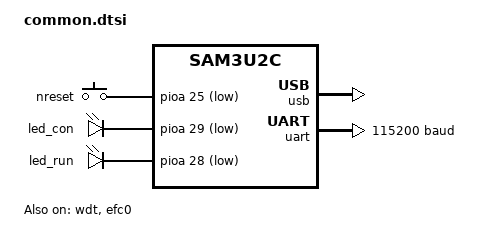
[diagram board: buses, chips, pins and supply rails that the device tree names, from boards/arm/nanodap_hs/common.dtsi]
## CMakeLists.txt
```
# Copyright (c) 2023 XiNGRZ
# SPDX-License-Identifier: Apache-2.0

cmake_minimum_required(VERSION 3.20.0)

set(ZephyrBuildConfiguration_ROOT ${CMAKE_SOURCE_DIR}/cmake)
list(APPEND ZEPHYR_EXTRA_MODULES ${CMAKE_SOURCE_DIR}/drivers)

find_package(Zephyr REQUIRED HINTS ../zephyr)
project(zprobe)

target_sources_ifdef(CONFIG_ZPROBE_BOOTLOADER app PRIVATE src/main_bl.c)
target_sources_ifdef(CONFIG_ZPROBE_INTERFACE app PRIVATE src/main_if.c)

target_sources(app PRIVATE src/usb_status.c)

target_sources_ifdef(CONFIG_ZPROBE_CDC_ACM app PRIVATE src/usb_cdc_acm.c)
target_sources_ifdef(CONFIG_ZPROBE_CMSIS_DAP_V2 app PRIVATE src/usb_cmsis_dap_v2.c)

target_sources_ifdef(CONFIG_CMSIS_DAP app PRIVATE src/cmsis_dap.c)
target_link_libraries_ifdef(CONFIG_CMSIS_DAP app PRIVATE cmsis_dap)
add_subdirectory_ifdef(CONFIG_CMSIS_DAP cmsis_dap)
```

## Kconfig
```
# Copyright (c) 2023 XiNGRZ
# SPDX-License-Identifier: Apache-2.0

mainmenu "Zprobe"

menu "Zprobe"

choice ZPROBE_APP
	prompt "App"

config ZPROBE_BOOTLOADER
	bool "Bootloader"
	select FLASH_MAP
	select FLASH

config ZPROBE_INTERFACE
	bool "Interface"

endchoice # ZPROBE_APP

rsource "Kconfig.logging"
rsource "Kconfig.usb"

if ZPROBE_INTERFACE
rsource "cmsis_dap/Kconfig"
endif # ZPROBE_INTERFACE

module = ZPROBE
module-str = zprobe
source "subsys/logging/Kconfig.template.log_config"

endmenu

source "Kconfig.zephyr"
```

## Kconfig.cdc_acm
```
# Copyright (c) 2023 XiNGRZ
# SPDX-License-Identifier: Apache-2.0

menu "USB CDC-ACM"

DT_COMPAT_ZPROBE_USB_CDC_ACM := zprobe,usb-cdc-acm

config ZPROBE_CDC_ACM
	bool "Bridge between UART and USB CDC-ACM"
	default $(dt_compat_enabled,$(DT_COMPAT_ZPROBE_USB_CDC_ACM))
	depends on USB_DEVICE_STACK
	depends on DT_HAS_ZEPHYR_CDC_ACM_UART_ENABLED
	select SERIAL
	select USB_CDC_ACM
	select UART_LINE_CTRL
	select CDC_ACM_DTE_RATE_CALLBACK_SUPPORT

if ZPROBE_CDC_ACM

config ZPROBE_CDC_ACM_RING_BUF_SIZE
	int
	default 128

endif # ZPROBE_CDC_ACM

endmenu
```

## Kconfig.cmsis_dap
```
# Copyright (c) 2023 XiNGRZ
# SPDX-License-Identifier: Apache-2.0

menu "USB CMSIS-DAP"

config ZPROBE_CMSIS_DAP_V2
	bool "USB interface for CMSIS-DAP v2"
	depends on USB_DEVICE_STACK
	default y if HAS_SWDIO
	select CMSIS_DAP

module = ZPROBE_CMSIS_DAP
module-str = zprobe_cmsis_dap
source "subsys/logging/Kconfig.template.log_config"

endmenu
```

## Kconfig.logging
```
# Copyright (c) 2023 XiNGRZ
# SPDX-License-Identifier: Apache-2.0

menu "Logging"

config ZPROBE_UART_LOGGING
	bool "Logging via UART"
	select LOG
	select SERIAL
	select CONSOLE
	select UART_CONSOLE

if ZPROBE_UART_LOGGING

config ZPROBE_LOG_LEVEL
	default 4

endif # ZPROBE_UART_LOGGING

endmenu
```

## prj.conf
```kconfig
# Copyright (c) 2023 XiNGRZ
# SPDX-License-Identifier: Apache-2.0

# Buses
CONFIG_GPIO=y

# Firmware
CONFIG_KERNEL_BIN_NAME="zprobe"
```

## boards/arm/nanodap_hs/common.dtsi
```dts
/*
 * Copyright (c) 2023 XiNGRZ
 * SPDX-License-Identifier: Apache-2.0
 */

#include <mem.h>
#include <freq.h>

#include <atmel/sam3u2c.dtsi>
#include <dt-bindings/pinctrl/sam3uXc-pinctrl.h>
#include <zephyr/dt-bindings/gpio/gpio.h>

/ {
	chosen {
		zephyr,sram = &sram0;
		zephyr,flash = &flash0;
		zephyr,console = &uart;
	};

	aliases {
		nreset = &nreset;
		led-con = &led_con;
		led-run = &led_run;
	};

	keys {
		compatible = "gpio-keys";

		nreset: nreset {
			gpios = <&pioa 25 (GPIO_ACTIVE_LOW | GPIO_PULL_UP)>;
		};
	};

	leds {
		compatible = "gpio-leds";

		led_con: led_con {
			gpios = <&pioa 29 GPIO_ACTIVE_LOW>;
		};

		led_run: led_run {
			gpios = <&pioa 28 GPIO_ACTIVE_LOW>;
		};
	};
};

&cpu0 {
	clock-frequency = <DT_FREQ_M(96)>;
};

&wdt {
	status = "okay";
};

&pinctrl {
	uart_default: uart_default {
		group1 {
			pinmux = <PA11A_UART_URXD>;
			bias-pull-up;
		};
		group2 {
			pinmux = <PA12A_UART_UTXD>;
		};
	};
};

&pioa {
	status = "okay";
};

&piob {
	status = "okay";
};

&usb {
	status = "okay";
};

&uart {
	pinctrl-0 = <&uart_default>;
	pinctrl-names = "default";
	status = "okay";
	current-speed = <115200>;
};

&efc0 {
	status = "okay";
};

&flash0 {
	partitions {
		compatible = "fixed-partitions";
		#address-cells = <1>;
		#size-cells = <1>;

		bootloader_partition: partition@0 {
			label = "bootloader";
			reg = <0x00000000 DT_SIZE_K(32)>;
		};

		code_partition: partition@8000 {
			label = "code_partition";
			reg = <0x00008000 DT_SIZE_K(96)>;
		};
	};
};
```

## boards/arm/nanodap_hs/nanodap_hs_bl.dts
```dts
/*
 * Copyright (c) 2023 XiNGRZ
 * SPDX-License-Identifier: Apache-2.0
 */

/dts-v1/;
#include "common.dtsi"

/ {
	model = "MuseLab nanoDAP-HS bootloader";
	compatible = "muselab,nanodap_hs_bl", "atmel,sam3u2c", "atmel,sam3u";

	chosen {
		zephyr,code-partition = &bootloader_partition;
		zprobe,boot-partition = &code_partition;
	};
};
```

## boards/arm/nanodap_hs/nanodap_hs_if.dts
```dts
/*
 * Copyright (c) 2023 XiNGRZ
 * SPDX-License-Identifier: Apache-2.0
 */

/dts-v1/;
#include "common.dtsi"

/ {
	model = "MuseLab nanoDAP-HS interface";
	compatible = "muselab,nanodap_hs_if", "atmel,sam3u2c", "atmel,sam3u";

	chosen {
		zephyr,code-partition = &code_partition;
	};
};
```

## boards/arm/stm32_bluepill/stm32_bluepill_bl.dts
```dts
/*
 * Copyright (c) 2023 XiNGRZ
 * SPDX-License-Identifier: Apache-2.0
 */

/dts-v1/;
#include "stm32_bluepill.dtsi"

/ {
	model = "STM32 BluePill Bootloader";
	compatible = "zprobe,stm32_bluepill_bl", "st,stm32f103";

	chosen {
		zephyr,code-partition = &bootloader_partition;
		zprobe,boot-partition = &code_partition;
	};
};
```

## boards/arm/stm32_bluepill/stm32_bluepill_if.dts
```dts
/*
 * Copyright (c) 2023 XiNGRZ
 * SPDX-License-Identifier: Apache-2.0
 */

/dts-v1/;
#include <dt-bindings/zprobe/hic.h>
#include <dt-bindings/zprobe/target.h>
#include "stm32_bluepill.dtsi"

/ {
	model = "STM32 BluePill Interface";
	compatible = "zprobe,stm32_bluepill_if", "st,stm32f103";

	chosen {
		zephyr,code-partition = &code_partition;
		zprobe,swdio = &swdio;
		zprobe,board = &board;
	};

	board: board {
		compatible = "zprobe,board";
		board-id = "0000";
		board-vendor = "Zprobe";
		board-name = "STM32F103";
		hic-id = <HIC_ID_STM32F103XB>;
		family-id = <FAMILY_ID_STUB_HWRESET>;
	};
};

&usb {
	cdc0: cdc_acm_uart-0 {
		compatible = "zephyr,cdc-acm-uart";
	};
};

&usart2 {
	status = "okay";
};

/ {
	usb_cdc_acm-0 {
		compatible = "zprobe,usb-cdc-acm";
		peer-0 = <&cdc0>;
		peer-1 = <&usart2>;
	};
};

/ {
	swdio: swdio {
		compatible = "zprobe,swdio-bitbang";
		swclk-tck-gpios = <&gpiob 13 GPIO_PULL_UP>;
		swdio-out-gpios = <&gpiob 14 GPIO_PULL_UP>;
		swdio-in-gpios = <&gpiob 14 GPIO_PULL_UP>;
	};
};
```

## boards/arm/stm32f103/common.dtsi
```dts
/*
 * Copyright (c) 2023 XiNGRZ
 * SPDX-License-Identifier: Apache-2.0
 */

#include <st/f1/stm32f103Xb.dtsi>
#include <st/f1/stm32f103c(8-b)tx-pinctrl.dtsi>

/ {
	chosen {
		zephyr,sram = &sram0;
		zephyr,flash = &flash0;
		zephyr,console = &usart3;
		zephyr,usb-device = &usb;
	};

	aliases {
		nreset = &nreset;
		led-run = &led_run;
	};

	keys {
		compatible = "gpio-keys";

		nreset: nreset {
			gpios = <&gpiob 0 (GPIO_ACTIVE_LOW | GPIO_PULL_UP)>;
		};
	};

	leds {
		compatible = "gpio-leds";

		led_run: led_run {
			gpios = <&gpioc 13 GPIO_ACTIVE_LOW>;
		};
	};
};

&clk_hse {
	clock-frequency = <DT_FREQ_M(8)>;
	status = "okay";
};

&pll {
	mul = <9>;
	clocks = <&clk_hse>;
	status = "okay";
};

&rcc {
	clocks = <&pll>;
	clock-frequency = <DT_FREQ_M(72)>;
	ahb-prescaler = <1>;
	apb1-prescaler = <2>;
	apb2-prescaler = <1>;
};

&usb {
	pinctrl-0 = <&usb_dm_pa11 &usb_dp_pa12>;
	pinctrl-names = "default";
	status = "okay";

	vbus-gpios = <&gpioa 12 GPIO_ACTIVE_LOW>;
};

&usart1 {
	pinctrl-0 = <&usart1_tx_pa9 &usart1_rx_pa10>;
	pinctrl-names = "default";
	current-speed = <115200>;
};

&usart2 {
	pinctrl-0 = <&usart2_tx_pa2 &usart2_rx_pa3>;
	pinctrl-names = "default";
	current-speed = <115200>;
};

&usart3 {
	pinctrl-0 = <&usart3_tx_pb10 &usart3_rx_pb11>;
	pinctrl-names = "default";
	status = "okay";
	current-speed = <115200>;
};

&flash0 {
	partitions {
		compatible = "fixed-partitions";
		#address-cells = <1>;
		#size-cells = <1>;

		bootloader_partition: partition@0 {
			label = "bootloader";
			reg = <0x00000000 DT_SIZE_K(48)>;
		};

		code_partition: partition@C000 {
			label = "code_partition";
			reg = <0x0000C000 DT_SIZE_K(80)>;
		};
	};
};
```

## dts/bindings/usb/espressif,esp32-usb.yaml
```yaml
# Copyright (c) 2023 XiNGRZ
# SPDX-License-Identifier: Apache-2.0

description: ESP32 USB controller

compatible: "espressif,esp32-usb"

include: [usb-ep.yaml, pinctrl-device.yaml]

properties:
  reg:
    required: true

  interrupts:
    required: true
```

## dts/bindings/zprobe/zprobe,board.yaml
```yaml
# Copyright (c) 2023 XiNGRZ
# SPDX-License-Identifier: Apache-2.0

description: Zprobe board configuration

compatible: "zprobe,board"

properties:
  board-id:
    type: string
    required: true

  board-vendor:
    type: string
    required: true

  board-name:
    type: string
    required: true

  hic-id:
    type: int
    required: true

  family-id:
    type: int
    required: true

  target:
    type: phandle
```

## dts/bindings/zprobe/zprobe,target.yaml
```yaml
# Copyright (c) 2023 XiNGRZ
# SPDX-License-Identifier: Apache-2.0

description: Zprobe target configuration

compatible: "zprobe,target"

properties:
  target-vendor:
    type: string
    required: true

  target-name:
    type: string
    required: true
```

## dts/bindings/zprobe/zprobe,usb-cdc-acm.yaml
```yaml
# Copyright (c) 2023 XiNGRZ
# SPDX-License-Identifier: Apache-2.0

description: Bridge between UART and USB CDC-ACM

compatible: "zprobe,usb-cdc-acm"

properties:
  peer-0:
    type: phandle
    required: true

  peer-1:
    type: phandle
    required: true
```

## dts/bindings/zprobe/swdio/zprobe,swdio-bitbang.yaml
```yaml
# Copyright (c) 2023 XiNGRZ
# SPDX-License-Identifier: Apache-2.0

description: A bit-bang driver to generate SWD sequence

compatible: "zprobe,swdio-bitbang"

properties:
  swclk-tck-gpios:
    type: phandle-array
    required: true
  swdio-out-gpios:
    type: phandle-array
    required: true
  swdio-in-gpios:
    type: phandle-array
    required: true
```

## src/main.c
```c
/*
 * Copyright (c) 2023 XiNGRZ
 *
 * SPDX-License-Identifier: Apache-2.0
 */

#include <zephyr/kernel.h>

#include <zephyr/logging/log.h>
LOG_MODULE_REGISTER(zprobe, CONFIG_ZPROBE_LOG_LEVEL);

void main(void)
{
	LOG_INF("Hello world!");
}
```

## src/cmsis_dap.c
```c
/*
 * Copyright (c) 2023 XiNGRZ
 *
 * SPDX-License-Identifier: Apache-2.0
 */

#include <stdio.h>

#include <zephyr/device.h>
#include <zephyr/drivers/gpio.h>
#include <zprobe/drivers/swdio.h>
#include <zephyr/drivers/hwinfo.h>

#include <zephyr/usb/usb_device.h>
#include <usb_descriptor.h>

#include <zephyr/logging/log.h>
LOG_MODULE_DECLARE(zprobe, CONFIG_ZPROBE_LOG_LEVEL);

#include "DAP_config.h"
#include "DAP.h"

#define SWDIO_NODE DT_CHOSEN(zprobe_swdio)

#define LED_CON_NODE DT_ALIAS(led_con)
#define LED_CON_OKAY DT_NODE_HAS_STATUS(LED_CON_NODE, okay)

#define LED_RUN_NODE DT_ALIAS(led_run)
#define LED_RUN_OKAY DT_NODE_HAS_STATUS(LED_RUN_NODE, okay)

#define BOARD_NODE DT_CHOSEN(zprobe_board)
#define BOARD_OKAY DT_NODE_HAS_STATUS(BOARD_NODE, okay)

#if BOARD_OKAY
#define TARGET_NODE DT_PHANDLE(BOARD_NODE, target)
#define TARGET_OKAY DT_NODE_HAS_STATUS(TARGET_NODE, okay)
#else
#define TARGET_OKAY 0
#endif

static const struct device *swdio_dev;

#if LED_CON_OKAY
static const struct gpio_dt_spec led_con = GPIO_DT_SPEC_GET(LED_CON_NODE, gpios);
#endif

#if LED_RUN_OKAY
static const struct gpio_dt_spec led_run = GPIO_DT_SPEC_GET(LED_RUN_NODE, gpios);
#endif

void PIN_SWDIO_OUT_ENABLE(void)
{
	swdio_set_write_mode(swdio_dev);
}

void PIN_SWDIO_OUT_DISABLE(void)
{
	swdio_set_read_mode(swdio_dev);
}

uint32_t PIN_nRESET_IN(void)
{
	return 1;
}

void PIN_nRESET_OUT(uint32_t bit)
{
	LOG_DBG("reset: %d", bit);
}

void LED_CONNECTED_OUT(uint32_t bit)
{
#if LED_CON_OKAY
	gpio_pin_set_dt(&led_con, bit);
#else
	ARG_UNUSED(bit);
#endif
}

void LED_RUNNING_OUT(uint32_t bit)
{
#if LED_RUN_OKAY
	gpio_pin_set_dt(&led_run, bit);
#else
	ARG_UNUSED(bit);
#endif
}

uint8_t DAP_GetTargetDeviceVendorString(char *str)
{
#if TARGET_OKAY
	const char *val = DT_PROP(TARGET_NODE, target_vendor);
	strcpy(str, val);
	return strlen(val) + 1;
#else
	ARG_UNUSED(str);
	return 0;
#endif
}

uint8_t DAP_GetTargetDeviceNameString(char *str)
{
#if TARGET_OKAY
	const char *val = DT_PROP(TARGET_NODE, target_name);
	strcpy(str, val);
	return strlen(val) + 1;
#else
	ARG_UNUSED(str);
	return 0;
#endif
}

uint8_t DAP_GetTargetBoardVendorString(char *str)
{
#if BOARD_OKAY
	const char *val = DT_PROP(BOARD_NODE, board_vendor);
	strcpy(str, val);
	return strlen(val) + 1;
#else
	ARG_UNUSED(str);
	return 0;
#endif
}

uint8_t DAP_GetTargetBoardNameString(char *str)
{
#if BOARD_OKAY
	const char *val = DT_PROP(BOARD_NODE, board_name);
	strcpy(str, val);
	return strlen(val) + 1;
#else
	ARG_UNUSED(str);
	return 0;
#endif
}

uint8_t *usb_update_sn_string_descriptor(void)
{
	static uint8_t sn[] = CONFIG_USB_DEVICE_SN;

#if BOARD_OKAY
	memcpy(sn + 0, DT_PROP(BOARD_NODE, board_id), 4);
#endif

#if BOARD_OKAY
	char family_id_str[5];
	sprintf(family_id_str, "%04x", DT_PROP(BOARD_NODE, family_id));
	memcpy(sn + 4, family_id_str, 4);
#endif

#ifdef CONFIG_HWINFO
	char host_id_str[33];
	uint8_t host_id[16];
	ssize_t host_id_len = hwinfo_get_device_id(host_id, sizeof(host_id));
	for (int i = 0; i < sizeof(host_id); i++) {
		sprintf(host_id_str + i * 2, "%02x", i < host_id_len ? host_id[i] : 0xa5);
	}
	memcpy(sn + 8, host_id_str, 32);
#endif

#if BOARD_OKAY
	char hid_id_str[9];
	sprintf(hid_id_str, "%08llx", DT_PROP(BOARD_NODE, hic_id));
	memcpy(sn + 40, hid_id_str, 8);
#endif

	return sn;
}

void SWJ_Sequence(uint32_t count, const uint8_t *data)
{
	// LOG_DBG("size: %d", count);
	// LOG_HEXDUMP_DBG(data, (count + 7) / 8, "data:");
	swdio_set_clock_freq(swdio_dev, DAP_Data.clock_freq);
	LED_RUNNING_OUT(1);
	swdio_write_bits(swdio_dev, data, count);
	LED_RUNNING_OUT(0);
}

void SWD_Sequence(uint32_t info, const uint8_t *swdo, uint8_t *swdi)
{
	// LOG_DBG("info: %02x", info);

	swdio_set_clock_freq(swdio_dev, DAP_Data.clock_freq);

	LED_RUNNING_OUT(1);

	uint32_t n = info & SWD_SEQUENCE_CLK;
	if (n == 0U) {
		n = 64U;
	}

	if (info & SWD_SEQUENCE_DIN) {
		swdio_read_bits(swdio_dev, swdi, n);
	} else {
		swdio_write_bits(swdio_dev, swdo, n);
	}

	LED_RUNNING_OUT(0);
}

static inline uint8_t calc_parity(uint32_t val)
{
	uint32_t parity = 0;
	for (int i = 0; i < 32; i++) {
		parity = (parity + (val >> i)) & 0x1;
	}
	return parity;
}

uint8_t SWD_Transfer(uint32_t request, uint32_t *data)
{
	// LOG_DBG("request: %02x", request);

	uint32_t req;
	uint32_t ack;
	uint32_t val;
	uint32_t parity;

	swdio_set_clock_freq(swdio_dev, DAP_Data.clock_freq);

	LED_RUNNING_OUT(1);

	/* Packet Request */
	req = request & BIT_MASK(4);
	// LOG_DBG("req: %02x", req);
	parity = calc_parity(req);
	val = BIT(7) | (parity << 5) | (req << 1) | BIT(0);
	swdio_write_uint32(swdio_dev, val, 8);

	/* Turnaround */
	swdio_set_read_mode(swdio_dev);
	swdio_turn_around(swdio_dev, DAP_Data.swd_conf.turnaround);

	/* Acknowledge response */
	ack = swdio_read_uint32(swdio_dev, 3);
	// LOG_DBG("ack: %02x", ack);

	if (ack == DAP_TRANSFER_OK) {
		/* Data transfer */
		if (request & DAP_TRANSFER_RnW) {
			uint8_t bit;
			val = swdio_read_uint32(swdio_dev, 32);
			parity = calc_parity(val);
			bit = swdio_read_uint32(swdio_dev, 1);
			if ((parity ^ bit) & 0x1) {
				ack = DAP_TRANSFER_ERROR;
				LOG_DBG("Read error");
			}
			if (data) {
				*data = val;
			}

			// LOG_DBG("read: %08x", val);
			swdio_turn_around(swdio_dev, DAP_Data.swd_conf.turnaround);
			swdio_set_write_mode(swdio_dev);
		} else {
			swdio_turn_around(swdio_dev, DAP_Data.swd_conf.turnaround);
			swdio_set_write_mode(swdio_dev);

			val = *data;
			swdio_write_uint32(swdio_dev, val, 32);
			parity = calc_parity(val);
			swdio_write_uint32(swdio_dev, parity, 1);
			// LOG_DBG("wrote: %08x", val);
		}

		/* Capture Timestamp */
		if (request & DAP_TRANSFER_TIMESTAMP) {
			DAP_Data.timestamp = TIMESTAMP_GET();
		}

		/* Idle cycles */
		swdio_write_dummy(swdio_dev, DAP_Data.transfer.idle_cycles);
	} else if (ack == DAP_TRANSFER_WAIT || ack == DAP_TRANSFER_FAULT) {
		LOG_DBG("WAIT or FAULT response");
		if (DAP_Data.swd_conf.data_phase && (request & DAP_TRANSFER_RnW) != 0) {
			swdio_read_dummy(swdio_dev, 32 + 1);
		}

		/* Turnaround */
		swdio_turn_around(swdio_dev, DAP_Data.swd_conf.turnaround);
		swdio_set_write_mode(swdio_dev);

		if (DAP_Data.swd_conf.data_phase && (request & DAP_TRANSFER_RnW) != 0) {
			swdio_write_dummy(swdio_dev, 32 + 1);
		}
	} else {
		LOG_DBG("Protocol error: %02x", ack);
		swdio_turn_around(swdio_dev, DAP_Data.swd_conf.turnaround + 32U + 1U);
		swdio_set_write_mode(swdio_dev);
	}

	LED_RUNNING_OUT(0);

	return (uint8_t)ack;
}

static int cmsis_dap_init(const struct device *dev)
{
	ARG_UNUSED(dev);
	int ret = 0;

	swdio_dev = DEVICE_DT_GET(SWDIO_NODE);
	if (!swdio_dev) {
		LOG_ERR("SWDIO device not found");
		return -ENODEV;
	}

#if LED_CON_OKAY
	ret = gpio_pin_configure_dt(&led_con, GPIO_OUTPUT_INACTIVE);
	if (ret != 0) {
		LOG_ERR("LED_CON not configured: %d", ret);
		return ret;
	}
#endif

#if LED_RUN_OKAY
	ret = gpio_pin_configure_dt(&led_run, GPIO_OUTPUT_INACTIVE);
	if (ret != 0) {
		LOG_ERR("LED_RUN not configured: %d", ret);
		return ret;
	}
#endif

	DAP_Setup();

	return ret;
}

SYS_INIT(cmsis_dap_init, APPLICATION, CONFIG_APPLICATION_INIT_PRIORITY);
```

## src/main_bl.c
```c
/*
 * Copyright (c) 2023 XiNGRZ
 *
 * SPDX-License-Identifier: Apache-2.0
 */

#include <zephyr/kernel.h>
#include <zephyr/device.h>

#include <zephyr/drivers/timer/system_timer.h>
#include <zephyr/linker/linker-defs.h>
#include <zephyr/arch/arm/aarch32/cortex_m/cmsis.h>

#include <zephyr/drivers/gpio.h>

#include <zephyr/logging/log.h>
LOG_MODULE_REGISTER(zprobe, CONFIG_ZPROBE_LOG_LEVEL);

#define FLASH_ADDR DT_REG_ADDR(DT_CHOSEN(zephyr_flash))
#define SRAM_ADDR  DT_REG_ADDR(DT_CHOSEN(zephyr_sram))
#define BOOT_ADDR  DT_REG_ADDR(DT_CHOSEN(zprobe_boot_partition))

#define APP_ADDR (FLASH_ADDR + BOOT_ADDR)

#define NRESET_NODE DT_ALIAS(nreset)
#define NRESET_OKAY DT_NODE_HAS_STATUS(NRESET_NODE, okay)

#if NRESET_OKAY
static struct gpio_dt_spec nreset = GPIO_DT_SPEC_GET(NRESET_NODE, gpios);
#endif

#define LED_RUN_NODE DT_ALIAS(led_run)
#define LED_RUN_OKAY DT_NODE_HAS_STATUS(LED_RUN_NODE, okay)

#if LED_RUN_OKAY
static struct gpio_dt_spec led_run = GPIO_DT_SPEC_GET(LED_RUN_NODE, gpios);
#endif

struct arm_vector_table {
	uint32_t msp;
	uint32_t reset;
};

static const struct arm_vector_table *vt = (struct arm_vector_table *)APP_ADDR;

static inline bool check_app(void)
{
	if ((vt->msp & 0x2FFE0000) != SRAM_ADDR) {
		LOG_ERR("Incorrect header");
		return false;
	}

	return true;
}

static inline void jump_to_app(void)
{
#if IS_ENABLED(CONFIG_SYSTEM_TIMER_HAS_DISABLE_SUPPORT)
	sys_clock_disable();
#endif

	irq_lock();

	SCB->VTOR = (uint32_t)vt;
	__set_MSP(vt->msp);

	((void (*)(void))vt->reset)();
}

void main(void)
{
	LOG_DBG("Hello world!");

	bool update_mode = false;

#if NRESET_OKAY
	if (!gpio_is_ready_dt(&nreset)) {
		LOG_ERR("NRESET is not ready");
		return;
	}

	gpio_pin_configure_dt(&nreset, GPIO_INPUT);
#endif

#if LED_RUN_OKAY
	if (!gpio_is_ready_dt(&led_run)) {
		LOG_ERR("LED_RUN is not ready");
		return;
	}

	gpio_pin_configure_dt(&led_run, GPIO_OUTPUT_INACTIVE);
#endif

#if NRESET_OKAY
	update_mode = gpio_pin_get_dt(&nreset);
	LOG_DBG("nreset: %d", update_mode);
#endif

	if (!update_mode && !check_app()) {
		update_mode = true;
	}

	if (!update_mode) {
		jump_to_app();
		while (1) {
		}
	}

	LOG_DBG("Bootloader mode");

	// TODO: Set up MSC

	while (1) {
#if LED_RUN_OKAY
		gpio_pin_toggle_dt(&led_run);
		k_msleep(500);
#endif
	}
}
```

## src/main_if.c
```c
/*
 * Copyright (c) 2023 XiNGRZ
 *
 * SPDX-License-Identifier: Apache-2.0
 */

#include <zephyr/kernel.h>

#include <zephyr/usb/usb_device.h>

#include <zephyr/logging/log.h>
LOG_MODULE_REGISTER(zprobe, CONFIG_ZPROBE_LOG_LEVEL);

#include "usb_status.h"

#include <zephyr/device.h>
#include <zephyr/drivers/gpio.h>

#define LED_RUN_NODE DT_ALIAS(led_run)
#define LED_CON_NODE DT_ALIAS(led_con)

static struct gpio_dt_spec led_run = GPIO_DT_SPEC_GET(LED_RUN_NODE, gpios);
static struct gpio_dt_spec led_con = GPIO_DT_SPEC_GET(LED_CON_NODE, gpios);

void main(void)
{
	int ret;
	ARG_UNUSED(ret);

#if IS_ENABLED(CONFIG_USB_DEVICE_STACK)
	ret = usb_enable(usb_status_changed);
	if (ret != 0) {
		LOG_ERR("Failed to enable USB: %d", ret);
		return;
	}
#endif // CONFIG_USB_DEVICE_STACK

	LOG_INF("Hello world!");

	gpio_pin_configure_dt(&led_run, GPIO_OUTPUT_INACTIVE);
	gpio_pin_configure_dt(&led_con, GPIO_OUTPUT_ACTIVE);

	while (1) {
		gpio_pin_toggle_dt(&led_run);
		gpio_pin_toggle_dt(&led_con);
		k_msleep(1000);
	}
}
```

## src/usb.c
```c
/*
 * Copyright (c) 2023 XiNGRZ
 *
 * SPDX-License-Identifier: Apache-2.0
 */

#include <zephyr/kernel.h>
#include <zephyr/device.h>

#include <zephyr/usb/usb_device.h>

#include <zephyr/logging/log.h>
LOG_MODULE_DECLARE(zprobe, CONFIG_ZPROBE_LOG_LEVEL);

static int zprobe_usb_init(const struct device *dev)
{
	ARG_UNUSED(dev);
	int ret;

	ret = usb_enable(NULL);
	if (ret != 0) {
		LOG_ERR("Failed to enable USB: %d", ret);
		return ret;
	}

	return 0;
}

SYS_INIT(zprobe_usb_init, APPLICATION, CONFIG_APPLICATION_INIT_PRIORITY);
```

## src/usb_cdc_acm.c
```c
/*
 * Copyright (c) 2023 XiNGRZ
 *
 * SPDX-License-Identifier: Apache-2.0
 */

#define DT_DRV_COMPAT zprobe_usb_cdc_acm

#include <zephyr/kernel.h>
#include <zephyr/device.h>
#include <zephyr/sys/ring_buffer.h>

#include <zephyr/drivers/uart.h>
#include <zephyr/drivers/uart/cdc_acm.h>

#include <zephyr/logging/log.h>
LOG_MODULE_DECLARE(zprobe, CONFIG_ZPROBE_LOG_LEVEL);

enum {
	PEER_0,
	PEER_1,
	PEER_CNT,
};

struct cdc_acm_peer {
	const struct device *dev;
	struct cdc_acm_peer *target;
	struct ring_buf rb;
	uint8_t buffer[CONFIG_ZPROBE_CDC_ACM_RING_BUF_SIZE];
};

struct cdc_acm_data {
	struct cdc_acm_peer peers[PEER_CNT];
};

struct cdc_acm_config {
	const struct device *devices[PEER_CNT];
};

#define LIST_PEERS(n)                                                                              \
	DEVICE_DT_GET(DT_INST_PHANDLE(n, peer_0)), DEVICE_DT_GET(DT_INST_PHANDLE(n, peer_1)),

static const struct device *cdc_acm_peer_devs[] = {DT_INST_FOREACH_STATUS_OKAY(LIST_PEERS)};

static void cdc_acm_irq_handler(const struct device *dev, void *user_data)
{
	struct cdc_acm_peer *peer = user_data;

	while (uart_irq_update(dev) && uart_irq_is_pending(dev)) {
		if (uart_irq_rx_ready(dev)) {
			uint8_t buf[64];
			int read;
			size_t wrote;
			struct ring_buf *rb = &peer->target->rb;

			read = uart_fifo_read(dev, buf, sizeof(buf));
			if (read < 0) {
				LOG_ERR("Failed to read UART FIFO from %s", peer->dev->name);
				read = 0;
			};

			wrote = ring_buf_put(rb, buf, read);
			if (wrote < read) {
				LOG_ERR("Drop %zu bytes", read - wrote);
			}

			if (wrote) {
				uart_irq_tx_enable(peer->dev);
			}
		}

		if (uart_irq_tx_ready(dev)) {
			uint8_t buf[64];
			size_t len;

			len = ring_buf_get(&peer->rb, buf, sizeof(buf));
			if (!len) {
				uart_irq_tx_disable(dev);
			} else {
				uart_fifo_fill(dev, buf, len);
			}
		}
	}
}

static inline int cdc_acm_set_target_baudrate(const struct device *target, uint32_t rate)
{
	int ret;
	struct uart_config cfg;

	ret = uart_line_ctrl_set(target, UART_LINE_CTRL_BAUD_RATE, rate);
	if (ret == 0 || ret != -ENOSYS) {
		return ret;
	}

	ret = uart_config_get(target, &cfg);
	if (ret != 0) {
		return ret;
	}

	cfg.baudrate = rate;

	return uart_configure(target, &cfg);
}

static void cdc_acm_baudrate_callback(const struct device *dev, uint32_t rate)
{
	LOG_DBG("Baud rate of %p %s is changing to %d", dev, dev->name, rate);

	int ret;
	const struct device *target;

	for (int i = 0; i < ARRAY_SIZE(cdc_acm_peer_devs) - 1; i++) {
		if (cdc_acm_peer_devs[i] == dev) {
			target = cdc_acm_peer_devs[i + 1];
			LOG_DBG("Setting baud rate of %p %s to %d", target, target->name, rate);
			ret = cdc_acm_set_target_baudrate(target, rate);
			if (ret != 0) {
				LOG_ERR("Failed setting baud rate for %s: %d %s", target->name, ret,
					strerror(ret));
			} else {
				LOG_DBG("Baud rate changed to %d", rate);
			}
			break;
		}
	}
}

static int cdc_acm_init(const struct device *dev)
{
	struct cdc_acm_data *data = dev->data;
	const struct cdc_acm_config *config = dev->config;

	for (int i = 0; i < PEER_CNT; i++) {
		if (!device_is_ready(config->devices[i])) {
			LOG_ERR("UART/CDC device %s is not ready", config->devices[i]->name);
			return -ENODEV;
		}
	}

	LOG_DBG("Bridging %p %s <--> %p %s", config->devices[PEER_0], config->devices[PEER_0]->name,
		config->devices[PEER_1], config->devices[PEER_1]->name);

	data->peers[PEER_0].dev = config->devices[PEER_0];
	data->peers[PEER_0].target = &data->peers[PEER_1];
	ring_buf_init(&data->peers[PEER_0].rb, sizeof(data->peers[PEER_0].buffer),
		      data->peers[PEER_0].buffer);

	data->peers[PEER_1].dev = config->devices[PEER_1];
	data->peers[PEER_1].target = &data->peers[PEER_0];
	ring_buf_init(&data->peers[PEER_1].rb, sizeof(data->peers[PEER_1].buffer),
		      data->peers[PEER_1].buffer);

	uart_irq_callback_user_data_set(config->devices[PEER_1], cdc_acm_irq_handler,
					&data->peers[PEER_0]);

	uart_irq_callback_user_data_set(config->devices[PEER_0], cdc_acm_irq_handler,
					&data->peers[PEER_1]);

	uart_irq_rx_enable(data->peers[PEER_0].dev);
	uart_irq_rx_enable(data->peers[PEER_1].dev);

	// Assuming peer-0 is the USB CDC-ACM device
	cdc_acm_dte_rate_callback_set(config->devices[PEER_0], cdc_acm_baudrate_callback);

	return 0;
}

#define CDC_ACM_INST(n)                                                                            \
	static struct cdc_acm_data cdc_acm_data_##n = {};                                          \
                                                                                                   \
	static const struct cdc_acm_config cdc_acm_config_##n = {                                  \
		.devices = {                                                                       \
			DEVICE_DT_GET(DT_INST_PHANDLE(n, peer_0)),                                 \
			DEVICE_DT_GET(DT_INST_PHANDLE(n, peer_1)),                                 \
		}};                                                                                \
                                                                                                   \
	DEVICE_DT_INST_DEFINE(n, cdc_acm_init, NULL, &cdc_acm_data_##n, &cdc_acm_config_##n,       \
			      POST_KERNEL, CONFIG_SERIAL_INIT_PRIORITY, NULL);

DT_INST_FOREACH_STATUS_OKAY(CDC_ACM_INST);
```

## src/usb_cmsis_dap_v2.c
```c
/*
 * Copyright (c) 2023 XiNGRZ
 *
 * SPDX-License-Identifier: Apache-2.0
 */

#include <zephyr/kernel.h>

#include <zephyr/sys/byteorder.h>
#include <zephyr/usb/usb_device.h>
#include <usb_descriptor.h>

#include <zephyr/logging/log.h>
LOG_MODULE_REGISTER(zprobe_cmsis_dap, CONFIG_ZPROBE_CMSIS_DAP_LOG_LEVEL);

#include "DAP.h"

#define USB_OUT_EP_IDX 0
#define USB_IN_EP_IDX  1

#define USB_BULK_EP_MPS 64

USBD_CLASS_DESCR_DEFINE(primary, 0) struct {
	struct usb_if_descriptor if0;
	struct usb_ep_descriptor if0_out_ep;
	struct usb_ep_descriptor if0_in_ep;
} dap_v2_desc = {
	.if0 =
		{
			.bLength = sizeof(struct usb_if_descriptor),
			.bDescriptorType = USB_DESC_INTERFACE,
			.bInterfaceNumber = 0,
			.bAlternateSetting = 0,
			.bNumEndpoints = 2,
			.bInterfaceClass = USB_BCC_VENDOR,
			.bInterfaceSubClass = 0,
			.bInterfaceProtocol = 0,
			.iInterface = 0,
		},
	.if0_out_ep =
		{
			.bLength = sizeof(struct usb_ep_descriptor),
			.bDescriptorType = USB_DESC_ENDPOINT,
			.bEndpointAddress = AUTO_EP_OUT,
			.bmAttributes = USB_DC_EP_BULK,
			.wMaxPacketSize = sys_cpu_to_le16(USB_BULK_EP_MPS),
			.bInterval = 0x00,
		},
	.if0_in_ep =
		{
			.bLength = sizeof(struct usb_ep_descriptor),
			.bDescriptorType = USB_DESC_ENDPOINT,
			.bEndpointAddress = AUTO_EP_IN,
			.bmAttributes = USB_DC_EP_BULK,
			.wMaxPacketSize = sys_cpu_to_le16(USB_BULK_EP_MPS),
			.bInterval = 0x00,
		},
};

static struct usb_ep_cfg_data dap_v2_ep_data[] = {
	{.ep_cb = usb_transfer_ep_callback, .ep_addr = AUTO_EP_OUT},
	{.ep_cb = usb_transfer_ep_callback, .ep_addr = AUTO_EP_IN},
};

#define DAP_V2_MAX_PACKET_SIZE 512

static uint8_t usb_rx_ep, usb_tx_ep;
static uint8_t usb_rx_buf[DAP_V2_MAX_PACKET_SIZE];
static uint8_t usb_tx_buf[DAP_V2_MAX_PACKET_SIZE];

static void dap_v2_write_cb(uint8_t ep, int size, void *priv)
{
	LOG_DBG("tx size: %u", size);
	LOG_HEXDUMP_DBG(usb_tx_buf, size, "tx data:");
}

static void dap_v2_read_cb(uint8_t ep, int size, void *priv)
{
	if (size <= 0) {
		goto next;
	}

	LOG_DBG("rx size: %u", size);
	LOG_HEXDUMP_DBG(usb_rx_buf, size, "rx data:");

	uint32_t ret, req_len, res_len;
	ret = DAP_ExecuteCommand(usb_rx_buf, usb_tx_buf);
	req_len = ret >> 16;
	res_len = ret & BIT_MASK(16);
	LOG_DBG("dap req size: %d", req_len);
	LOG_HEXDUMP_DBG(usb_rx_buf, req_len, "dap req data:");
	LOG_DBG("dap res size: %d", res_len);
	LOG_HEXDUMP_DBG(usb_tx_buf, res_len, "dap res data:");

	usb_transfer(usb_tx_ep, usb_tx_buf, res_len, USB_TRANS_WRITE, dap_v2_write_cb, NULL);

next:
	usb_transfer(usb_rx_ep, usb_rx_buf, sizeof(usb_rx_buf), USB_TRANS_READ, dap_v2_read_cb,
		     NULL);
}

static void dap_v2_status_cb(struct usb_cfg_data *cfg, enum usb_dc_status_code status,
			     const uint8_t *param)
{
	ARG_UNUSED(cfg);

	switch (status) {
	case USB_DC_CONFIGURED:
		LOG_DBG("USB device configured");
		usb_rx_ep = cfg->endpoint[USB_OUT_EP_IDX].ep_addr;
		usb_tx_ep = cfg->endpoint[USB_IN_EP_IDX].ep_addr;
		dap_v2_read_cb(usb_rx_ep, 0, NULL);
		break;
	default:
		break;
	}
}

struct dap_v2_interface_descriptor {
	uint8_t bLength;
	uint8_t bDescriptorType;
	uint8_t bString[USB_BSTRING_LENGTH(CONFIG_USB_DEVICE_PRODUCT)];
} __packed;

USBD_STRING_DESCR_USER_DEFINE(primary)
struct dap_v2_interface_descriptor dap_v2_interface_descr = {
	.bLength = USB_STRING_DESCRIPTOR_LENGTH(CONFIG_USB_DEVICE_PRODUCT),
	.bDescriptorType = USB_DESC_STRING,
	.bString = CONFIG_USB_DEVICE_PRODUCT,
};

static void dap_v2_interface_config(struct usb_desc_header *head, uint8_t bInterfaceNumber)
{
	ARG_UNUSED(head);

	int idx = usb_get_str_descriptor_idx(&dap_v2_interface_descr);
	if (idx) {
		dap_v2_desc.if0.iInterface = idx;
	}

	dap_v2_desc.if0.bInterfaceNumber = bInterfaceNumber;
}

USBD_DEFINE_CFG_DATA(dap_v2_config) = {
	.usb_device_description = NULL,
	.interface_config = dap_v2_interface_config,
	.interface_descriptor = &dap_v2_desc.if0,
	.cb_usb_status = dap_v2_status_cb,
	.num_endpoints = ARRAY_SIZE(dap_v2_ep_data),
	.endpoint = dap_v2_ep_data,
};
```

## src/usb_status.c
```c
/*
 * Copyright (c) 2023 XiNGRZ
 *
 * SPDX-License-Identifier: Apache-2.0
 */

#include <zephyr/device.h>
#include <zephyr/kernel.h>
#include <zephyr/drivers/gpio.h>

#include <zephyr/logging/log.h>
LOG_MODULE_DECLARE(zprobe, CONFIG_ZPROBE_LOG_LEVEL);

#include "usb_status.h"

#define LED_CON_NODE DT_ALIAS(led_con)
#define LED_CON_OKAY DT_NODE_HAS_STATUS(LED_CON_NODE, okay)

#if LED_CON_OKAY

static const struct gpio_dt_spec led_con = GPIO_DT_SPEC_GET(LED_CON_NODE, gpios);

void usb_status_changed(enum usb_dc_status_code cb_status, const uint8_t *param)
{
	if (!gpio_is_ready_dt(&led_con)) {
		return;
	}

	if (cb_status == USB_DC_CONFIGURED) {
		gpio_pin_set_dt(&led_con, 1);
	} else {
		gpio_pin_set_dt(&led_con, 0);
	}
}

static int usb_status_init(const struct device *dev)
{
	ARG_UNUSED(dev);
	int ret;

	ret = gpio_pin_configure_dt(&led_con, GPIO_OUTPUT_INACTIVE);
	if (ret != 0) {
		LOG_ERR("LED_CON not configured: %d", ret);
		return ret;
	}

	return 0;
}

SYS_INIT(usb_status_init, APPLICATION, CONFIG_APPLICATION_INIT_PRIORITY);

#else // LED_CON_OKAY

void usb_status_changed(enum usb_dc_status_code cb_status, const uint8_t *param)
{
	ARG_UNUSED(cb_status);
	ARG_UNUSED(param);
}

#endif // LED_CON_OKAY
```

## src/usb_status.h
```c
/*
 * Copyright (c) 2023 XiNGRZ
 *
 * SPDX-License-Identifier: Apache-2.0
 */

#pragma once

#include <stdint.h>
#include <zephyr/usb/usb_device.h>

void usb_status_changed(enum usb_dc_status_code cb_status, const uint8_t *param);
```
